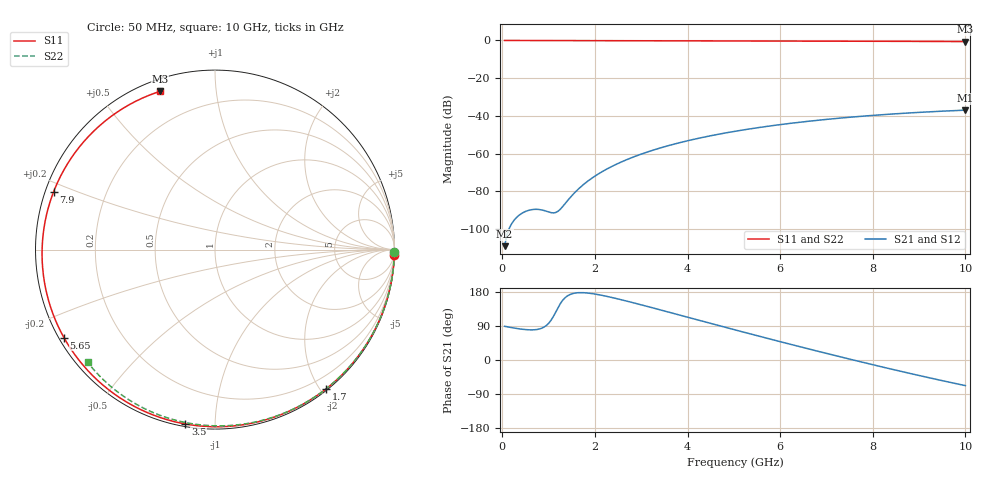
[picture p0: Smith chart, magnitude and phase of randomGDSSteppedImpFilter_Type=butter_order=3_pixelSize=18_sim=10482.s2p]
! freq	dB(S11)	phase(S11)	dB(S12)	phase(S12)
!  dB(S21)	phase(S21)	dB(S22)	phase(S22)
!S-par simulation data
#  GHz  S  DB  R 50
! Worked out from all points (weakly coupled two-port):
!   200 points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, 50 MHz to 10 GHz, reference 50 ohm
!   highest |S21| = -36.91 dB at 10 GHz (marker M1); lowest = -109.0 dB at 50 MHz (marker M2)
!   lowest |S11| = -0.6 dB at 10 GHz (marker M3), VSWR 29.05, Z = 2.59 + j35.5 ohm
!   |S11| at or under -10 dB: nowhere
!   |S22| runs from -0.5 to 0.0 dB; largest |S21 - S12| = 0
!   S11 on the Smith chart (normalised r, x): 50 MHz: 0, -73; 1.7 GHz: 0.02, -2.08; 3.5 GHz: 0.01, -0.84; 5.65 GHz: 0.01, -0.27; 7.9 GHz: 0.02, +0.17; 10 GHz: 0.05, +0.71
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0.05  -0.00 -1.6  -108.97 89.0  -108.97 89.0  -0.00 -0.8
0.4  -0.02 -12.4  -91.91 81.6  -91.91 81.6  -0.01 -6.4
0.75  -0.03 -23.1  -89.46 80.6  -89.46 80.6  -0.02 -12.0
1.55  -0.06 -47.0  -80.95 176.2  -80.95 176.2  -0.03 -24.5
1.6  -0.06 -48.4  -79.71 177.2  -79.71 177.2  -0.03 -25.3
1.7  -0.06 -51.3  -77.43 177.8  -77.43 177.8  -0.03 -26.9
1.75  -0.07 -52.7  -76.38 177.6  -76.38 177.6  -0.04 -27.6
2.05  -0.08 -61.3  -71.08 173.0  -71.08 173.0  -0.04 -32.3
2.45  -0.09 -72.3  -65.72 162.6  -65.72 162.6  -0.05 -38.4
2.9  -0.10 -84.3  -61.09 148.8  -61.09 148.8  -0.06 -45.2
3.4  -0.12 -97.2  -57.03 132.7  -57.03 132.7  -0.07 -52.6
3.5  -0.13 -99.7  -56.31 129.4  -56.31 129.4  -0.07 -54.0
4.25  -0.16 -117.9  -51.75 104.8  -51.75 104.8  -0.09 -64.8
5.05  -0.19 -136.3  -48.01 78.7  -48.01 78.7  -0.12 -76.0
5.65  -0.23 -149.8  -45.74 59.5  -45.74 59.5  -0.14 -84.1
6.2  -0.26 -161.9  -43.97 42.1  -43.97 42.1  -0.16 -91.4
6.7  -0.30 -172.9  -42.57 26.6  -42.57 26.6  -0.19 -97.9
7.3  -0.35 173.9  -41.12 8.3  -41.12 8.3  -0.23 -105.5
7.9  -0.40 160.4  -39.88 -9.5  -39.88 -9.5  -0.27 -113.0
8.35  -0.44 150.0  -39.08 -22.6  -39.08 -22.6  -0.30 -118.6
9.15  -0.52 130.8  -37.89 -45.1  -37.89 -45.1  -0.38 -128.3
10  -0.60 109.2  -36.91 -67.6  -36.91 -67.6  -0.47 -138.6
